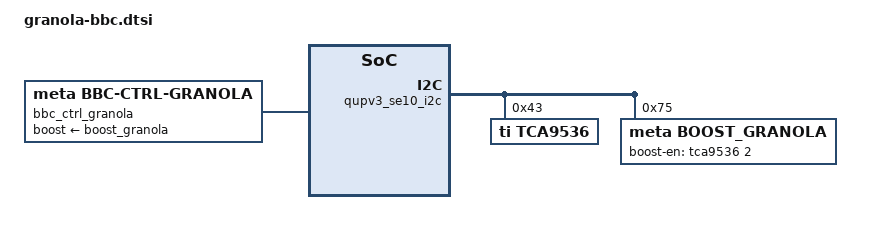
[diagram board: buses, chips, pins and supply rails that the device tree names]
&pcal6408 {
	status = "disabled";
};

&tps61280 {
	status = "disabled";
};

&bbc_ctrl {
	status = "disabled";
};

&qupv3_se10_i2c {
	tca9536: tca9536@43 {
		compatible = "ti,tca9536";
		reg = <0x43>;
		gpio-controller;
		#gpio-cells = <2>;
		gpio-line-names = "fem_fpwm_sel", "power_switch_en", "bat_boost_en", "reserve";
		/* Configure SEL_FEM_FPWM-Pin0 as output */
		enable-output = <0x01>;
		/* Initialize SEL_FEM_FPWM to low state for TPS62802 work as FPWM */
		initial-state = <0x00>;
		status = "okay";
	};

	boost_granola: boost_granola@75 {
		compatible = "meta,boost_granola";
		reg = <0x75>;
		boost-en-gpios = <&tca9536 2 GPIO_ACTIVE_HIGH>;
		regulator-boot-on;
		status = "okay";
	};
};

&soc {
	bbc_ctrl_granola: bbc_ctrl_granola {
		compatible = "meta,bbc-ctrl-granola";
		boost-supply = <&boost_granola>;
		boost-voutroof-th-uv = <3500000>;
		extcon = <&max77789>;
		status = "okay";
	};
};
